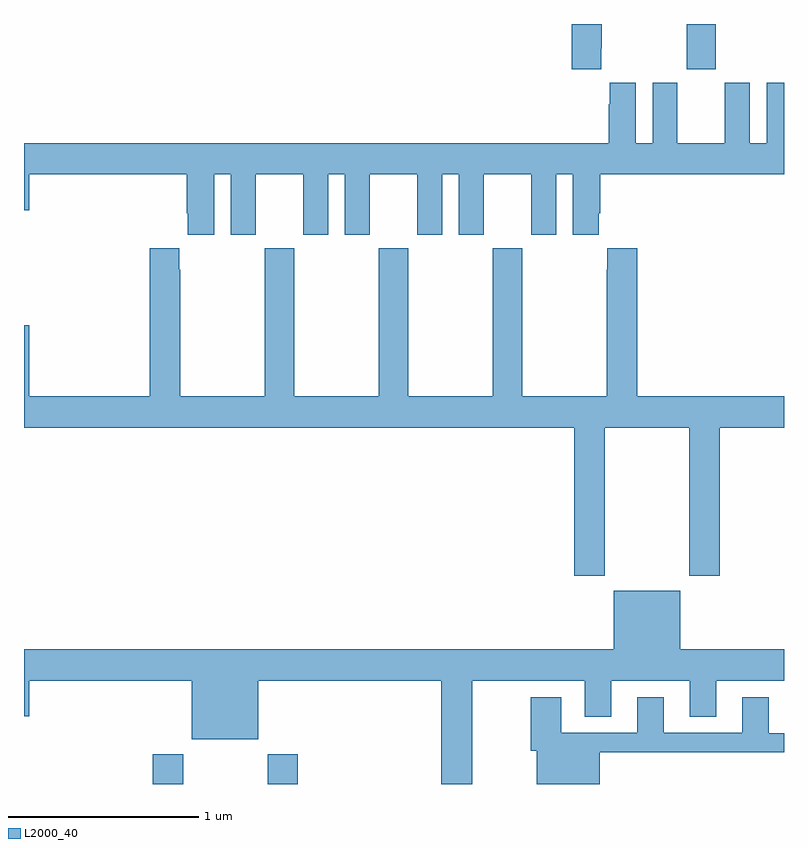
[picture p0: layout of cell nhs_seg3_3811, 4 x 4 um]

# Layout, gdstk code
import gdstk
lib = gdstk.Library(unit=1e-6, precision=1e-09)
def R(c, l, rs):  # rectangles x0, y0, x1, y1
    for r in rs: c.add(gdstk.rectangle(r[:2], r[2:], *l))
def P(c, l, *ps):  # polygons
    for p in ps: c.add(gdstk.Polygon(p, *l))
L2000_40 = (2000, 40)

nhs_seg3_3811 = lib.new_cell('nhs_seg3_3811')
R(nhs_seg3_3811, L2000_40, [(309.677,672.4,309.837,672.556), (310.282,672.4,310.442,672.556), (312.487,676.161,312.642,676.4)])
P(nhs_seg3_3811, L2000_40, [(312.037,676.273),(312.042,676.273),(312.042,676.4),(311.882,676.4),(311.882,676.161),(312.037,676.161)],
  [(309,675.42),(309.028,675.42),(309.028,675.608),(309.857,675.608),(309.857,675.403),(309.863,675.403),(309.863,675.291),(310,675.291),(310,675.608),(310.088,675.608),(310.088,675.291),(310.219,675.291),(310.219,675.608),(310.469,675.608),(310.469,675.291),(310.6,675.291),(310.6,675.608),(310.688,675.608),(310.688,675.291),(310.819,675.291),(310.819,675.608),(311.069,675.608),(311.069,675.291),(311.2,675.291),(311.2,675.608),(311.288,675.608),(311.288,675.291),(311.419,675.291),(311.419,675.608),(311.669,675.608),(311.669,675.291),(311.8,675.291),(311.8,675.608),(311.888,675.608),(311.888,675.291),(312.025,675.291),(312.025,675.403),(312.032,675.403),(312.032,675.608),(313,675.608),(313,676.09),(312.908,676.09),(312.908,675.772),(312.82,675.772),(312.82,676.09),(312.689,676.09),(312.689,675.772),(312.439,675.772),(312.439,676.09),(312.308,676.09),(312.308,675.772),(312.22,675.772),(312.22,676.09),(312.083,676.09),(312.083,675.977),(312.077,675.977),(312.077,675.772),(309,675.772)],
  [(311.622,675.22),(311.467,675.22),(311.467,674.44),(311.022,674.44),(311.022,675.22),(310.867,675.22),(310.867,674.44),(310.422,674.44),(310.422,675.22),(310.267,675.22),(310.267,674.44),(309.822,674.44),(309.822,675.107),(309.817,675.107),(309.817,675.22),(309.662,675.22),(309.662,674.44),(309.028,674.44),(309.028,674.815),(309,674.815),(309,674.276),(311.897,674.276),(311.897,673.497),(312.057,673.497),(312.057,674.276),(312.502,674.276),(312.502,673.497),(312.662,673.497),(312.662,674.276),(313,674.276),(313,674.44),(312.227,674.44),(312.227,675.22),(312.071,675.22),(312.071,675.107),(312.067,675.107),(312.067,674.44),(311.622,674.44)],
  [(311.359,672.944),(311.951,672.944),(311.951,672.754),(312.091,672.754),(312.091,672.944),(312.503,672.944),(312.503,672.754),(312.643,672.754),(312.643,672.944),(313,672.944),(313,673.108),(312.454,673.108),(312.454,673.417),(312.104,673.417),(312.104,673.108),(309,673.108),(309,672.756),(309.028,672.756),(309.028,672.944),(309.884,672.944),(309.884,672.635),(310.234,672.635),(310.234,672.944),(311.195,672.944),(311.195,672.4),(311.359,672.4)],
  [(312.031,672.568),(313,672.568),(313,672.666),(312.919,672.666),(312.919,672.856),(312.779,672.856),(312.779,672.669),(312.367,672.669),(312.367,672.856),(312.227,672.856),(312.227,672.669),(311.827,672.669),(311.827,672.856),(311.668,672.856),(311.668,672.576),(311.699,672.576),(311.699,672.4),(312.031,672.4)])

lib.write_gds('nhs_seg3_3811.gds')
